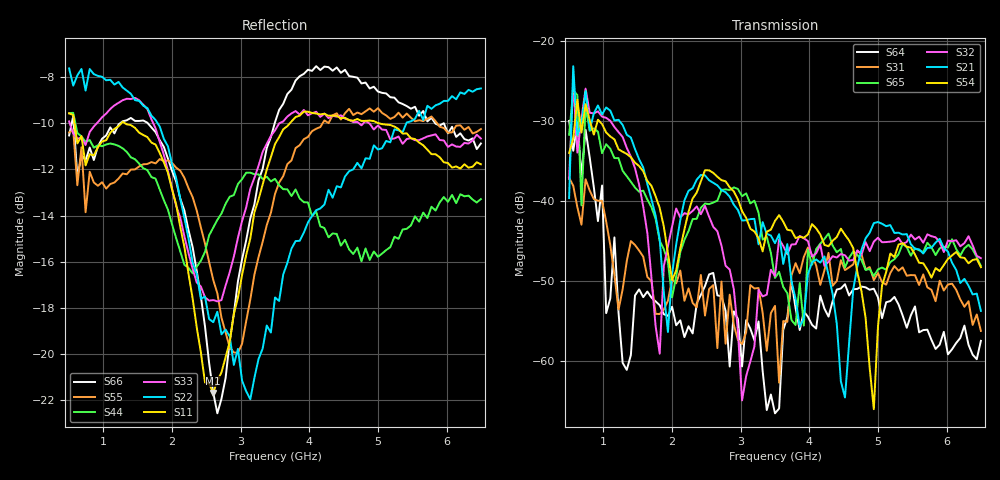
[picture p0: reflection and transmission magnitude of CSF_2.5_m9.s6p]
!Keysight Technologies,M9804A,MY58100912,A.14.10.03
!Date: Thursday, April 27, 2023 10:28:33
!Correction: S11(C  6-Port  )
!S12(C  6-Port  )
!S13(C  6-Port  )
!S14(C  6-Port  )
!S15(C  6-Port  )
!S16(C  6-Port  )
!S21(C  6-Port  )
!S22(C  6-Port  )
!S23(C  6-Port  )
!S24(C  6-Port  )
!S25(C  6-Port  )
!S26(C  6-Port  )
!S31(C  6-Port  )
!S32(C  6-Port  )
!S33(C  6-Port  )
!S34(C  6-Port  )
!S35(C  6-Port  )
!S36(C  6-Port  )
!S41(C  6-Port  )
!S42(C  6-Port  )
!S43(C  6-Port  )
!S44(C  6-Port  )
!S45(C  6-Port  )
!S46(C  6-Port  )
!S51(C  6-Port  )
!S52(C  6-Port  )
!S53(C  6-Port  )
!S54(C  6-Port  )
!S55(C  6-Port  )
!S56(C  6-Port  )
!S61(C  6-Port  )
!S62(C  6-Port  )
!S63(C  6-Port  )
!S64(C  6-Port  )
!S65(C  6-Port  )
!S66(C  6-Port  )
!S6P File: Measurement: :
# Hz S  RI  R 50
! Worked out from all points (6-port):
!   101 points, 500 MHz to 6.5 GHz, reference 50 ohm
!   strongest paths, dB at 500 MHz, 2 GHz, 3.5 GHz, 5 GHz, 6.5 GHz:
!     S54: -34.0, -49.9, -42.5, -55.8, -48.3
!     S21: -39.7, -49.1, -45.3, -42.7, -53.8
!     S32: -37.3, -43.2, -49.4, -44.6, -47.2
!     S65: -31.7, -52.1, -49.6, -48.6, -48.1
!     S31: -37.1, -49.8, -53.1, -49.0, -56.3
!     S64: -30.0, -53.3, -66.6, -52.1, -57.5
!   lowest |S11| = -21.7 dB at 2.6 GHz (marker M1), VSWR 1.18, Z = 42.7 + j2.1 ohm
!   |S11| at or under -10 dB: 577.6 MHz to 1.26 GHz (682.3 MHz wide, 74.3 % of centre); 1.315 GHz to 3.716 GHz (2.401 GHz wide, 95.4 % of centre); 5.016 GHz to end of sweep
